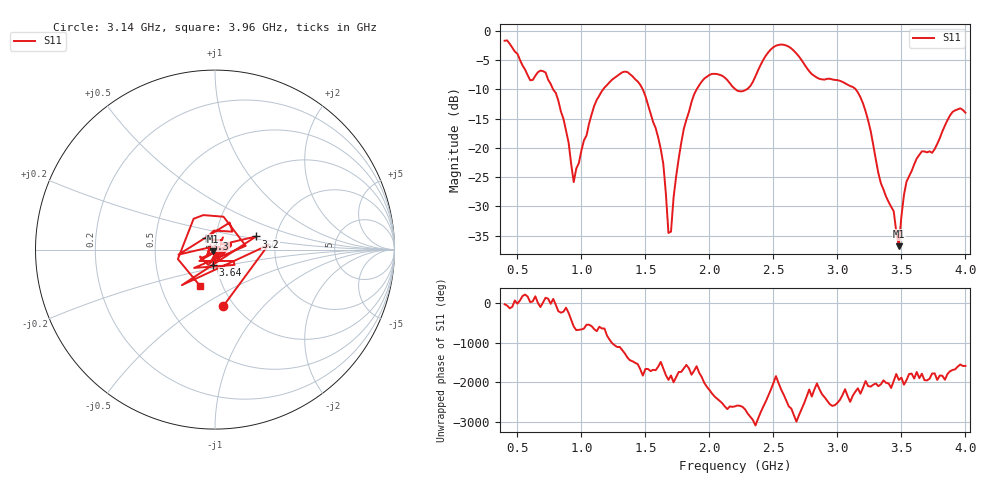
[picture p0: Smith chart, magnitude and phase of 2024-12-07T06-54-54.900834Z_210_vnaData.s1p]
!Created with skrf (http://scikit-rf.org).
# Hz S RI R 50.0
!freq ReS11 ImS11
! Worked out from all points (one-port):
!   181 points, 400 MHz to 4 GHz, reference 50 ohm
!   lowest |S11| = -36.8 dB at 3.48 GHz (marker M1), VSWR 1.03, Z = 48.8 - j0.83 ohm
!   |S11| at or under -10 dB: 778.8 MHz to 1.17 GHz (391.2 MHz wide, 40.1 % of centre); 1.48 GHz to 1.9 GHz (420.7 MHz wide, 24.9 % of centre); 3.143 GHz to end of sweep (the widest 3 of 4)
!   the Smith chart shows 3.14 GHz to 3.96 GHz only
!   S11 on the Smith chart (normalised r, x): 3.14 GHz: 0.89, -0.63; 3.2 GHz: 1.57, +0.24; 3.3 GHz: 0.90, +0.11; 3.64 GHz: 0.96, -0.17; 3.96 GHz: 0.78, -0.33
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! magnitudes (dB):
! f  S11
! 400 MHz  -1.7
! 600 MHz  -8.4
! 720 MHz  -7.1
! 860 MHz  -15.0
! 940 MHz  -25.9
! 1.12 GHz  -11.8
! 1.3 GHz  -7.4
! 1.46 GHz  -9.2
! 1.58 GHz  -16.6
! 1.64 GHz  -22.8
! 1.68 GHz  -34.6
! 1.7 GHz  -34.3
! 1.76 GHz  -21.8
! 1.94 GHz  -8.7
! 2.2 GHz  -9.9
! 2.5 GHz  -2.8
! 2.66 GHz  -3.4
! 3.1 GHz  -9.4
! 3.14 GHz  -9.9
! 3.2 GHz  -12.4
! 3.3 GHz  -22.0
! 3.44 GHz  -30.8
! 3.48 GHz  -36.8
! 3.52 GHz  -28.1
! 3.56 GHz  -24.9
! 3.64 GHz  -21.2
! 3.96 GHz  -13.3
! 4 GHz  -14.0
